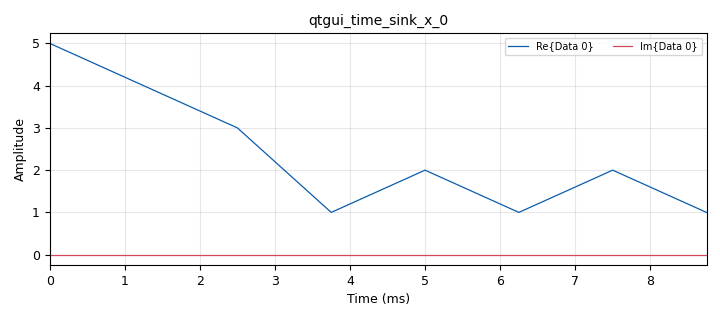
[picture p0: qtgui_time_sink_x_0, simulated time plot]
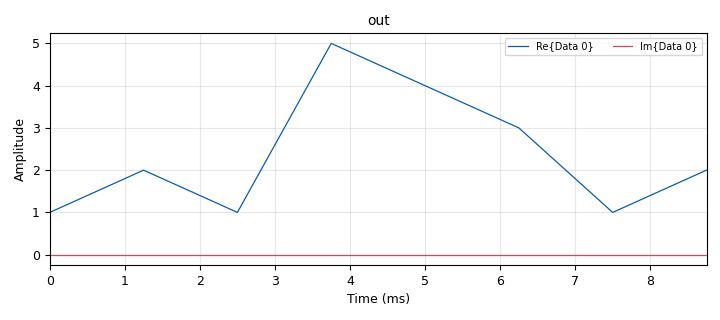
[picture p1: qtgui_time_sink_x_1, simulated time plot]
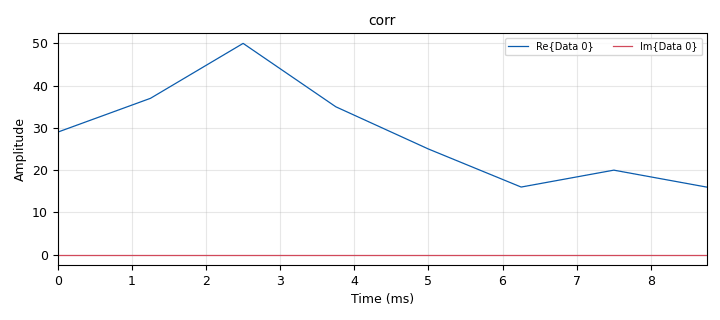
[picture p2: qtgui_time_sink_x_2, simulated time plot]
options:
  parameters:
    generate_options: qt_gui
    id: correlacao
    output_language: python
    title: Correlação de Sinais
  states: {}

blocks:
- name: samp_rate
  id: variable
  parameters:
    value: '32000'
  states: {}
- name: blocks_file_sink_0
  id: blocks_file_sink
  parameters:
    file: /home/gabriel/Projects/GNU-Radio/files_dat/signal.dat
    type: complex
  states: {}
- name: blocks_file_source_0
  id: blocks_file_source
  parameters:
    repeat: 'True'
    type: complex
  states: {state: disabled}
- name: blocks_throttle2_0
  id: blocks_throttle2
  parameters:
    limit: items
    maximum: '8'
    samples_per_second: '80'
    type: complex
  states: {}
- name: blocks_vector_source_x_0
  id: blocks_vector_source_x
  parameters:
    repeat: 'True'
    type: complex
    vector: (5, 4, 3, 1, 2, 1, 2, 1)
  states: {}
- name: digital_corr_est_cc_0
  id: digital_corr_est_cc
  parameters:
    mark_delay: '1'
    sps: '3'
    symbols: (5+0j, 4+0j, 3+0j)
    threshold: '0.9'
    threshold_method: digital.THRESHOLD_ABSOLUTE
  states: {}
- name: qtgui_time_sink_x_0
  id: qtgui_time_sink_x
  parameters:
    autoscale: 'True'
    grid: 'True'
    size: 8*1
    srate: '800'
    type: complex
    update_time: '1'
    ymax: '6'
    ymin: '0'
  states: {}
- name: qtgui_time_sink_x_1
  id: qtgui_time_sink_x
  parameters:
    autoscale: 'True'
    grid: 'True'
    name: '"out"'
    size: '8'
    srate: '800'
    type: complex
    ymax: '6'
    ymin: '0'
  states: {}
- name: qtgui_time_sink_x_2
  id: qtgui_time_sink_x
  parameters:
    autoscale: 'True'
    grid: 'True'
    name: '"corr"'
    size: '8'
    srate: '800'
    type: complex
    ymax: '6'
    ymin: '0'
  states: {}

connections:
- [blocks_throttle2_0, '0', blocks_file_sink_0, '0']
- [blocks_throttle2_0, '0', digital_corr_est_cc_0, '0']
- [blocks_throttle2_0, '0', qtgui_time_sink_x_0, '0']
- [blocks_vector_source_x_0, '0', blocks_throttle2_0, '0']
- [digital_corr_est_cc_0, '0', qtgui_time_sink_x_1, '0']
- [digital_corr_est_cc_0, '1', qtgui_time_sink_x_2, '0']

metadata:
  file_format: 1
  grc_version: 3.10.9.2
